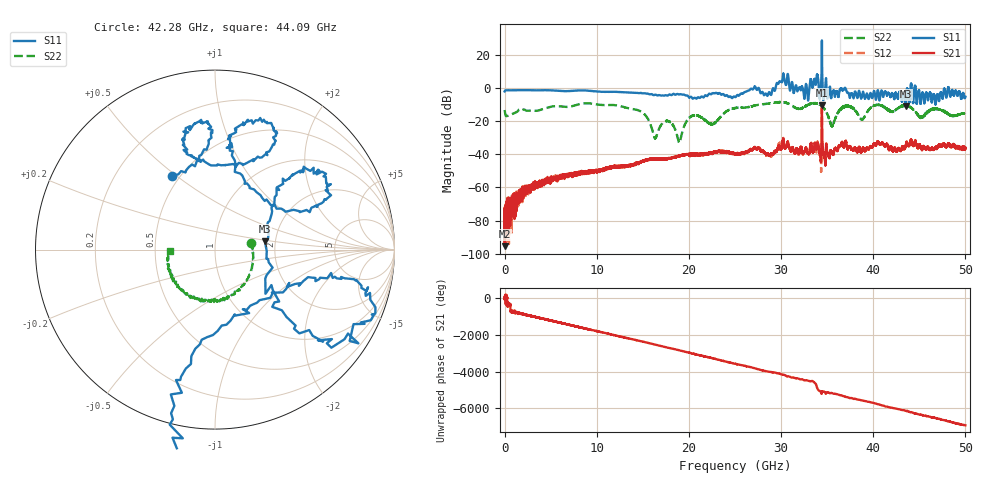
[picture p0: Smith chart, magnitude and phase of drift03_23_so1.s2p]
!Created with skrf (http://scikit-rf.org).
# Hz S RI R 50.0
!freq ReS11 ImS11 ReS21 ImS21 ReS12 ImS12 ReS22 ImS22
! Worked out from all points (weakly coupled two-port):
!   10000 points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, 5.3 MHz to 50 GHz, reference 50 ohm
!   highest |S21| = -10.54 dB at 34.43 GHz (marker M1); lowest = -95.4 dB at 20.3 MHz (marker M2)
!   lowest |S11| = -11.0 dB at 43.52 GHz (marker M3), VSWR 1.78, Z = 88 + j8.66 ohm
!   |S11| at or under -10 dB: 43.49513 GHz to 43.50348 GHz (8.347 MHz wide, 0.0192 % of centre); 43.50559 GHz to 43.54158 GHz (35.99 MHz wide, 0.0827 % of centre)
!   |S22| runs from -32.9 to -8.4 dB; largest |S21 - S12| = 0.094
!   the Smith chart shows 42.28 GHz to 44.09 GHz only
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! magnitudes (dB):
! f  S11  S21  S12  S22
! 5.3 MHz  -2.1  -75.7  -84.0  -13.3
! 20.3 MHz  -1.9  -95.4  -74.4  -13.7
! 2.24 GHz  -1.3  -60.8  -58.4  -13.3
! 8.34 GHz  -1.5  -51.3  -51.6  -9.5
! 14.52 GHz  -3.1  -45.2  -45.1  -13.5
! 16.67 GHz  -4.4  -42.6  -42.7  -25.9
! 17.8 GHz  -4.2  -42.6  -42.6  -20.0
! 18.97 GHz  -3.9  -41.0  -40.8  -32.8
! 20.29 GHz  -5.6  -40.2  -40.4  -17.0
! 22.56 GHz  -3.1  -39.3  -39.0  -21.8
! 25.01 GHz  -5.5  -40.1  -40.0  -12.1
! 28.72 GHz  -2.5  -40.3  -40.2  -9.4
! 30.14 GHz  4.3  -33.8  -33.7  -8.5
! 33.34 GHz  2.6  -35.2  -35.2  -9.3
! 34.43 GHz  28.6  -10.5  -12.6  -10.9
! 35.53 GHz  -3.4  -38.9  -38.9  -22.8
! 36.97 GHz  0.1  -32.6  -32.9  -11.3
! 38.76 GHz  -5.5  -38.1  -38.1  -19.0
! 41.67 GHz  -3.1  -36.7  -36.9  -13.6
! 43.52 GHz  -11.0  -34.7  -35.2  -10.8
! 45.19 GHz  -7.5  -36.2  -36.3  -17.5
! 50 GHz  -5.3  -35.9  -36.3  -15.4
